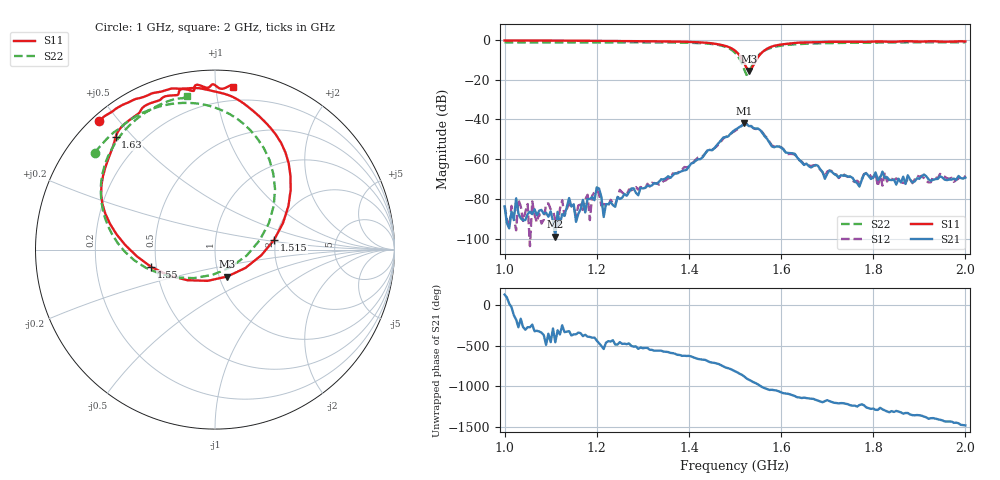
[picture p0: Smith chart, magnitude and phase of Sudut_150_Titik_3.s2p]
# Hz S RI R 50
! CMT, C1220, 16058040, 17.2.0/1
! Date: 14/08/2018 12:38:40
! Data: Format (Calibration Info)
! Freq  S11: Re/Im (F2)  S21: Re/Im (F2)  S12: Re/Im (F2)  S22: Re/Im (F2)
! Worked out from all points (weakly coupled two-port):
!   201 points, 1 GHz to 2 GHz, reference 50 ohm
!   highest |S21| = -41.99 dB at 1.52 GHz (marker M1); lowest = -99.0 dB at 1.11 GHz (marker M2)
!   lowest |S11| = -15.7 dB at 1.53 GHz (marker M3), VSWR 1.39, Z = 54.6 - j16.9 ohm
!   |S11| at or under -10 dB: 1.516 GHz to 1.546 GHz (30.4 MHz wide, 1.99 % of centre)
!   |S22| runs from -17.6 to -1.2 dB; largest |S21 - S12| = 0.00033
!   S11 on the Smith chart (normalised r, x): 1 GHz: 0.02, +0.44; 1.515 GHz: 1.96, +0.24; 1.55 GHz: 0.47, -0.10; 1.63 GHz: 0.11, +0.45; 2 GHz: 0.10, +1.11
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1e9  -0.6472 0.7143  -3.82e-05 5.26e-05  3.38e-05 5.9e-05  -0.6705 0.5393
1.11e9  -0.5445 0.7896  -1.94e-06 -1.11e-05  -1.43e-05 2.72e-05  -0.6049 0.6144
1.17e9  -0.4756 0.8234  8.62e-05 -3.95e-05  5.29e-05 2.51e-06  -0.5586 0.6569
1.29e9  -0.2932 0.8821  -0.000124 7.26e-07  -0.00017 -1.77e-05  -0.4434 0.7412
1.335e9  -0.2143 0.8966  -0.00025 0.000102  -0.000224 3.94e-05  -0.3745 0.7746
1.45e9  0.1844 0.7955  0.00165 0.000295  0.00169 0.000193  0.0175 0.7848
1.5e9  0.4215 0.3315  -0.000644 -0.00543  -0.000617 -0.00511  0.3345 0.3382
1.515e9  0.3288 0.0535  -0.00527 -0.00451  -0.00525 -0.00467  0.2483 0.0514
1.52e9  0.2582 -0.0316  -0.00747 -0.00274  -0.00752 -0.00281  0.1773 -0.0326
1.53e9  0.0684 -0.15  -0.00638 0.00233  -0.00644 0.00226  -0.0138 -0.1408
1.55e9  -0.3556 -0.0966  -0.0012 0.00574  -0.00146 0.00562  -0.3857 -0.1013
1.63e9  -0.5541 0.6253  0.00102 -0.000894  0.000983 -0.000839  -0.6157 0.4645
1.67e9  -0.4366 0.7501  0.000172 -0.000649  0.000174 -0.000683  -0.5637 0.5817
1.77e9  -0.2347 0.8591  -0.00018 -9.92e-05  -0.000233 -9.39e-05  -0.4355 0.7281
1.785e9  -0.2053 0.8636  -0.000443 2.15e-06  -0.000442 -8.66e-05  -0.4163 0.7423
1.805e9  -0.1964 0.8891  -0.000404 0.000231  -0.000336 0.000289  -0.3922 0.7596
1.81e9  -0.1895 0.8932  -0.000265 0.000158  5.91e-05 0.000199  -0.3866 0.7639
1.815e9  -0.18 0.8948  -0.00034 3.04e-05  -0.000355 0.000179  -0.38 0.7675
1.82e9  -0.1677 0.8939  -0.000447 0.000191  -0.000179 0.00012  -0.3744 0.771
1.825e9  -0.1535 0.8913  -0.000269 0.000202  -0.00038 0.000269  -0.3685 0.7743
1.835e9  -0.1285 0.8846  -0.000152 0.00026  -0.000228 0.000259  -0.3568 0.7817
2e9  0.103 0.9066  0.000257 -0.000229  0.000222 -0.00028  -0.1569 0.854
